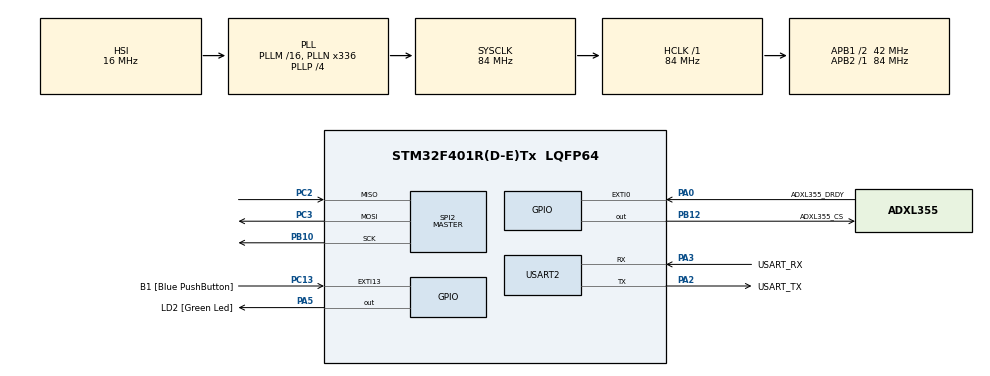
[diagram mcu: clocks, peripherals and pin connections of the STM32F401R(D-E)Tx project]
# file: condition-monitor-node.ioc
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Dma.Request0=SPI2_RX
Dma.Request1=SPI2_TX
Dma.SPI2_RX.0.Direction=DMA_PERIPH_TO_MEMORY
Dma.SPI2_RX.0.FIFOMode=DMA_FIFOMODE_DISABLE
Dma.SPI2_RX.0.Instance=DMA1_Stream3
Dma.SPI2_RX.0.MemDataAlignment=DMA_MDATAALIGN_BYTE
Dma.SPI2_RX.0.MemInc=DMA_MINC_ENABLE
Dma.SPI2_RX.0.Mode=DMA_NORMAL
Dma.SPI2_RX.0.PeriphDataAlignment=DMA_PDATAALIGN_BYTE
Dma.SPI2_RX.0.PeriphInc=DMA_PINC_DISABLE
Dma.SPI2_RX.0.Priority=DMA_PRIORITY_LOW
Dma.SPI2_TX.1.Direction=DMA_MEMORY_TO_PERIPH
Dma.SPI2_TX.1.FIFOMode=DMA_FIFOMODE_DISABLE
Dma.SPI2_TX.1.Instance=DMA1_Stream4
Dma.SPI2_TX.1.MemDataAlignment=DMA_MDATAALIGN_BYTE
Dma.SPI2_TX.1.MemInc=DMA_MINC_ENABLE
Dma.SPI2_TX.1.Mode=DMA_NORMAL
Dma.SPI2_TX.1.PeriphDataAlignment=DMA_PDATAALIGN_BYTE
Dma.SPI2_TX.1.PeriphInc=DMA_PINC_DISABLE
Dma.SPI2_TX.1.Priority=DMA_PRIORITY_LOW
Mcu.Family=STM32F4
Mcu.Name=STM32F401R(D-E)Tx
Mcu.Package=LQFP64
NVIC.DMA1_Stream3_IRQn=true\:0\:0\:false\:false\:true\:false\:true\:true
NVIC.DMA1_Stream4_IRQn=true\:0\:0\:false\:false\:true\:false\:true\:true
NVIC.EXTI0_IRQn=true\:0\:0\:false\:false\:true\:true\:true\:true
NVIC.PriorityGroup=NVIC_PRIORITYGROUP_4
NVIC.TIM2_IRQn=true\:0\:0\:false\:false\:true\:true\:true\:true
PA0-WKUP.GPIO_Label=ADXL355_DRDY
PA0-WKUP.Signal=GPXTI0
PA13.GPIO_Label=TMS
PA13.Mode=Trace_Asynchronous_SW
PA13.Signal=SYS_JTMS-SWDIO
PA14.GPIO_Label=TCK
PA14.Mode=Trace_Asynchronous_SW
PA14.Signal=SYS_JTCK-SWCLK
PA2.GPIO_Label=USART_TX
PA2.GPIO_Mode=GPIO_MODE_AF_PP
PA2.GPIO_PuPd=GPIO_NOPULL
PA2.GPIO_Speed=GPIO_SPEED_FREQ_LOW
PA2.Mode=Asynchronous
PA2.Signal=USART2_TX
PA3.GPIO_Label=USART_RX
PA3.GPIO_Mode=GPIO_MODE_AF_PP
PA3.GPIO_PuPd=GPIO_NOPULL
PA3.GPIO_Speed=GPIO_SPEED_FREQ_LOW
PA3.Mode=Asynchronous
PA3.Signal=USART2_RX
PA5.GPIO_Label=LD2 [Green Led]
PA5.GPIO_Mode=GPIO_MODE_OUTPUT_PP
PA5.GPIO_PuPd=GPIO_NOPULL
PA5.GPIO_Speed=GPIO_SPEED_FREQ_LOW
PA5.Signal=GPIO_Output
PB10.Mode=Full_Duplex_Master
PB10.Signal=SPI2_SCK
PB12.GPIO_Label=ADXL355_CS
PB12.PinState=GPIO_PIN_SET
PB12.Signal=GPIO_Output
PB3.GPIO_Label=SWO
PB3.Mode=Trace_Asynchronous_SW
PB3.Signal=SYS_JTDO-SWO
PC13-ANTI_TAMP.GPIO_Label=B1 [Blue PushButton]
PC13-ANTI_TAMP.GPIO_ModeDefaultEXTI=GPIO_MODE_IT_FALLING
PC13-ANTI_TAMP.GPIO_PuPd=GPIO_NOPULL
PC13-ANTI_TAMP.Signal=GPXTI13
PC14-OSC32_IN.Mode=LSE-External-Oscillator
PC14-OSC32_IN.Signal=RCC_OSC32_IN
PC15-OSC32_OUT.Mode=LSE-External-Oscillator
PC15-OSC32_OUT.Signal=RCC_OSC32_OUT
PC2.Mode=Full_Duplex_Master
PC2.Signal=SPI2_MISO
PC3.Mode=Full_Duplex_Master
PC3.Signal=SPI2_MOSI
PH0\ -\ OSC_IN.Mode=HSE-External-Clock-Source
PH0\ -\ OSC_IN.Signal=RCC_OSC_IN
PH1\ -\ OSC_OUT.Mode=HSE-External-Clock-Source
PH1\ -\ OSC_OUT.Signal=RCC_OSC_OUT
ProjectManager.HeapSize=0x200
ProjectManager.StackSize=0x400
ProjectManager.TargetToolchain=STM32CubeIDE
RCC.48MHZClocksFreq_Value=48000000
RCC.AHBFreq_Value=84000000
RCC.APB1CLKDivider=RCC_HCLK_DIV2
RCC.APB1Freq_Value=42000000
RCC.APB1TimFreq_Value=84000000
RCC.APB2Freq_Value=84000000
RCC.APB2TimFreq_Value=84000000
RCC.CortexFreq_Value=84000000
RCC.HCLKFreq_Value=84000000
RCC.HSE_VALUE=8000000
RCC.HSI_VALUE=16000000
RCC.PLLN=336
RCC.PLLP=RCC_PLLP_DIV4
RCC.PLLQ=7
RCC.SYSCLKFreq_VALUE=84000000
RCC.SYSCLKSource=RCC_SYSCLKSOURCE_PLLCLK
RCC.VCOOutputFreq_Value=336000000
SPI2.BaudRatePrescaler=SPI_BAUDRATEPRESCALER_8
SPI2.Direction=SPI_DIRECTION_2LINES
SPI2.Mode=SPI_MODE_MASTER
SPI2.VirtualType=VM_MASTER
TIM2.Period=4999
TIM2.Prescaler=8399
USART2.VirtualMode=VM_ASYNC
VP_TIM2_VS_ClockSourceINT.Mode=Internal
board=NUCLEO-F401RE

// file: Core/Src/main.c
/* USER CODE BEGIN Header */
/**
  ******************************************************************************
  * @file           : main.c
  * @brief          : Main program body
  ******************************************************************************
  * @attention
  *
  * Copyright (c) 2026 STMicroelectronics.
  * All rights reserved.
  *
  * This software is licensed under terms that can be found in the LICENSE file
  * in the root directory of this software component.
  * If no LICENSE file comes with this software, it is provided AS-IS.
  *
  ******************************************************************************
  */
/* USER CODE END Header */
#include "main.h"

/* USER CODE BEGIN Includes */

#include <stdio.h>
#include <math.h>

#include "arm_math.h"

#include "adxl355.h"

/* USER CODE END Includes */

/* USER CODE BEGIN PTD */

#define ADXL355_BUFFER_SIZE 512

typedef struct
{
    int32_t x[ADXL355_BUFFER_SIZE];
    int32_t y[ADXL355_BUFFER_SIZE];
    int32_t z[ADXL355_BUFFER_SIZE];
    uint16_t index;
} ADXL355_Buffer;

typedef struct
{
    float mean_x_g;
    float mean_y_g;
    float mean_z_g;

    float std_x_g;
    float std_y_g;
    float std_z_g;

    float p2p_x_g;
    float p2p_y_g;
    float p2p_z_g;
} ADXL355_Features;

/* USER CODE END PTD */

/* USER CODE BEGIN PD */

#define PI_F 3.14159265358979323846f

#define ADXL355_SAMPLE_RATE_HZ 2000.0f
#define ADXL355_SENSITIVITY_LSB_PER_G 256000.0f

/* USER CODE END PD */

SPI_HandleTypeDef hspi2;
DMA_HandleTypeDef hdma_spi2_rx;
DMA_HandleTypeDef hdma_spi2_tx;

TIM_HandleTypeDef htim2;

UART_HandleTypeDef huart2;

/* USER CODE BEGIN PV */

static ADXL355_Buffer buffer_a;
static ADXL355_Buffer buffer_b;

static ADXL355_Buffer *active_buffer = &buffer_a;
static ADXL355_Buffer * volatile ready_buffer = NULL;

static volatile uint32_t dropped_buffer_count = 0;

static volatile uint32_t drdy_events = 0;
static volatile uint32_t dma_start_fail_count = 0;
static volatile uint32_t spi_error_count = 0;

static float hann_window[ADXL355_BUFFER_SIZE];

static arm_rfft_fast_instance_f32 fft_instance;

static float fft_output[ADXL355_BUFFER_SIZE];
static float fft_input[ADXL355_BUFFER_SIZE];
static float fft_magnitude[ADXL355_BUFFER_SIZE / 2 + 1];

/* USER CODE END PV */

void SystemClock_Config(void);
static void MX_GPIO_Init(void);
static void MX_DMA_Init(void);
static void MX_USART2_UART_Init(void);
static void MX_TIM2_Init(void);
static void MX_SPI2_Init(void);

/* USER CODE BEGIN 0 */

static void InitHannWindow(void)
{
	for (int i = 0; i < ADXL355_BUFFER_SIZE; i++)
	{
		hann_window[i] = 0.5f * (1.0f - cos(2 * PI_F * i / (ADXL355_BUFFER_SIZE - 1)));
	}
}

static void PrepareFFTInput(const ADXL355_Buffer *buffer, const ADXL355_Features *features)
{
	for (int i = 0; i < ADXL355_BUFFER_SIZE; i++)
	{
		fft_input[i] = (buffer->x[i] / ADXL355_SENSITIVITY_LSB_PER_G - features->mean_x_g) * hann_window[i];
	}
}

static void ComputeMagnitudeSpectrum(void)
{
	fft_magnitude[0] = fabsf(fft_output[0]);

	for (int k = 1; k < ADXL355_BUFFER_SIZE / 2; k++)
	{
		float re = fft_output[2 * k];
		float im = fft_output[2 * k + 1];

		fft_magnitude[k] = sqrtf(re * re + im * im);
	}

	fft_magnitude[ADXL355_BUFFER_SIZE / 2] = fabsf(fft_output[1]);
}

static uint16_t FindDominantBin(void)
{
    uint16_t dominant_bin = 1;

    for (uint16_t i = 2; i < ADXL355_BUFFER_SIZE / 2; i++)
    {
    	if (fft_magnitude[i] > fft_magnitude[dominant_bin])
    	{
    		dominant_bin = i;
    	}
    }

    return dominant_bin;
}

static void ProcessBuffer(const ADXL355_Buffer *buffer, ADXL355_Features *features)
{
	int32_t min_x = buffer->x[0];
	int32_t max_x = buffer->x[0];
    int64_t sum_x = buffer->x[0];

	int32_t min_y = buffer->y[0];
	int32_t max_y = buffer->y[0];
    int64_t sum_y = buffer->y[0];

	int32_t min_z = buffer->z[0];
	int32_t max_z = buffer->z[0];
    int64_t sum_z = buffer->z[0];

    for (int i = 1; i < ADXL355_BUFFER_SIZE; i++)
    {
    	if (buffer->x[i] < min_x)
    	    min_x = buffer->x[i];
    	if (buffer->x[i] > max_x)
    	    max_x = buffer->x[i];
        sum_x += buffer->x[i];

    	if (buffer->y[i] < min_y)
			min_y = buffer->y[i];
		if (buffer->y[i] > max_y)
			max_y = buffer->y[i];
        sum_y += buffer->y[i];

		if (buffer->z[i] < min_z)
			min_z = buffer->z[i];
		if (buffer->z[i] > max_z)
			max_z = buffer->z[i];
        sum_z += buffer->z[i];
    }

    float mean_x_raw = (float)sum_x / ADXL355_BUFFER_SIZE;
    float mean_y_raw = (float)sum_y / ADXL355_BUFFER_SIZE;
    float mean_z_raw = (float)sum_z / ADXL355_BUFFER_SIZE;

    float squared_diff_sum_x = 0.0f;
    float squared_diff_sum_y = 0.0f;
    float squared_diff_sum_z = 0.0f;

    for (int i = 0; i < ADXL355_BUFFER_SIZE; i++)
    {
    	float diff_x = buffer->x[i] - mean_x_raw;
    	float diff_y = buffer->y[i] - mean_y_raw;
    	float diff_z = buffer->z[i] - mean_z_raw;
    	squared_diff_sum_x += diff_x * diff_x;
    	squared_diff_sum_y += diff_y * diff_y;
    	squared_diff_sum_z += diff_z * diff_z;
    }

    float std_x_raw = sqrtf(squared_diff_sum_x / ADXL355_BUFFER_SIZE);
    float std_y_raw = sqrtf(squared_diff_sum_y / ADXL355_BUFFER_SIZE);
    float std_z_raw = sqrtf(squared_diff_sum_z / ADXL355_BUFFER_SIZE);

    features->mean_x_g = mean_x_raw / ADXL355_SENSITIVITY_LSB_PER_G;
    features->mean_y_g = mean_y_raw / ADXL355_SENSITIVITY_LSB_PER_G;
    features->mean_z_g = mean_z_raw / ADXL355_SENSITIVITY_LSB_PER_G;

    features->std_x_g = std_x_raw / ADXL355_SENSITIVITY_LSB_PER_G;
    features->std_y_g = std_y_raw / ADXL355_SENSITIVITY_LSB_PER_G;
    features->std_z_g = std_z_raw / ADXL355_SENSITIVITY_LSB_PER_G;

    features->p2p_x_g = (max_x - min_x) / ADXL355_SENSITIVITY_LSB_PER_G;
    features->p2p_y_g = (max_y - min_y) / ADXL355_SENSITIVITY_LSB_PER_G;
    features->p2p_z_g = (max_z - min_z) / ADXL355_SENSITIVITY_LSB_PER_G;
}

/* USER CODE END 0 */

int main(void)
{

  /* MCU Configuration--------------------------------------------------------*/

  /* Reset of all peripherals, Initializes the Flash interface and the Systick. */
  HAL_Init();

  /* Configure the system clock */
  SystemClock_Config();

  /* Initialize all configured peripherals */
  MX_GPIO_Init();
  MX_DMA_Init();
  MX_USART2_UART_Init();
  MX_TIM2_Init();
  MX_SPI2_Init();
  /* USER CODE BEGIN 2 */

  HAL_TIM_Base_Start_IT(&htim2);

  InitHannWindow();

  arm_status fft_status =
      arm_rfft_fast_init_f32(&fft_instance, ADXL355_BUFFER_SIZE);

  if (fft_status != ARM_MATH_SUCCESS)
  {
      Error_Handler();
  }

  char message[] = "Hello from STM32!\r\n";

  HAL_UART_Transmit(&huart2, (uint8_t *)message, sizeof(message) - 1, HAL_MAX_DELAY);

  HAL_StatusTypeDef status;

  status = ADXL355_Init(&hspi2);
  if (status == HAL_OK) {
      char msg[] = "ADXL355 initialized.\r\n";
      HAL_UART_Transmit(&huart2, (uint8_t *)msg, sizeof(msg) - 1, HAL_MAX_DELAY);
  } else {
	  char msg[] = "ADXL355 initialization failed.\r\n";
	  HAL_UART_Transmit(&huart2, (uint8_t *)msg, sizeof(msg) - 1, HAL_MAX_DELAY);
  }

  CoreDebug->DEMCR |= CoreDebug_DEMCR_TRCENA_Msk;
  DWT->CYCCNT = 0;
  DWT->CTRL |= DWT_CTRL_CYCCNTENA_Msk;

  uint32_t processed_buffer_count = 0;

  /* USER CODE END 2 */

  /* Infinite loop */
  while (1)
  {

    /* USER CODE BEGIN 3 */

	  ADXL355_Buffer *buffer_to_process = ready_buffer;
	  if (buffer_to_process != NULL) {

		  char msg[128];
		  int len = snprintf(msg, sizeof(msg), "New buffer at %p being processed...\r\n", (void *)buffer_to_process);
		  HAL_UART_Transmit(&huart2, (uint8_t *)msg, len, HAL_MAX_DELAY);

		  ADXL355_Features features;
		  uint32_t start = HAL_GetTick();
		  uint32_t start_cycles = DWT->CYCCNT;

		  ProcessBuffer(buffer_to_process, &features);
		  PrepareFFTInput(buffer_to_process, &features);
		  arm_rfft_fast_f32(&fft_instance, fft_input, fft_output, 0);
		  ComputeMagnitudeSpectrum();
		  uint16_t dominant_bin = FindDominantBin();
		  float dominant_frequency_hz = dominant_bin * ADXL355_SAMPLE_RATE_HZ / ADXL355_BUFFER_SIZE;
		  float dominant_magnitude = fft_magnitude[dominant_bin];

		  uint32_t processing_cycles = DWT->CYCCNT - start_cycles;
		  uint32_t processing_time_ms = HAL_GetTick() - start;
		  float processing_time_us = (float)processing_cycles / (SystemCoreClock / 1000000.0f);
		  processed_buffer_count++;

		  len = snprintf(msg, sizeof(msg), "X: mean=%fg, std=%fg, p2p=%fg, f=%fHz, magnitude=%f\r\n", features.mean_x_g, features.std_x_g, features.p2p_x_g, dominant_frequency_hz, dominant_magnitude);
		  HAL_UART_Transmit(&huart2, (uint8_t *)msg, len, HAL_MAX_DELAY);
		  len = snprintf(msg, sizeof(msg), "Y: mean=%fg, std=%fg, p2p=%fg\r\n", features.mean_y_g, features.std_y_g, features.p2p_y_g);
		  HAL_UART_Transmit(&huart2, (uint8_t *)msg, len, HAL_MAX_DELAY);
		  len = snprintf(msg, sizeof(msg), "Z: mean=%fg, std=%fg, p2p=%fg\r\n", features.mean_z_g, features.std_z_g, features.p2p_z_g);
		  HAL_UART_Transmit(&huart2, (uint8_t *)msg, len, HAL_MAX_DELAY);
		  len = snprintf(msg, sizeof(msg), "Buffer at %p done being processed.\r\n", (void *)buffer_to_process);
		  HAL_UART_Transmit(&huart2, (uint8_t *)msg, len, HAL_MAX_DELAY);

		  len = snprintf(msg, sizeof(msg), "Processed buffers count: %lu.\r\n", processed_buffer_count);
		  HAL_UART_Transmit(&huart2, (uint8_t *)msg, len, HAL_MAX_DELAY);
		  len = snprintf(msg, sizeof(msg), "Dropped buffers count: %lu.\r\n", dropped_buffer_count);
		  HAL_UART_Transmit(&huart2, (uint8_t *)msg, len, HAL_MAX_DELAY);
		  len = snprintf(msg, sizeof(msg), "DMA start fail count: %lu.\r\n", dma_start_fail_count);
		  HAL_UART_Transmit(&huart2, (uint8_t *)msg, len, HAL_MAX_DELAY);
		  len = snprintf(msg, sizeof(msg), "SPI errors count: %lu.\r\n", spi_error_count);
		  HAL_UART_Transmit(&huart2, (uint8_t *)msg, len, HAL_MAX_DELAY);

		  ready_buffer = NULL;

		  len = snprintf(msg, sizeof(msg), "Processing time ms: %lu.\r\n", processing_time_ms);
		  HAL_UART_Transmit(&huart2, (uint8_t *)msg, len, HAL_MAX_DELAY);
		  len = snprintf(msg, sizeof(msg), "Processing: %lu cycles, %.2f us\r\n\n", (unsigned long)processing_cycles, processing_time_us);
		  HAL_UART_Transmit(&huart2, (uint8_t *)msg, len, HAL_MAX_DELAY);
	  }

  }
  /* USER CODE END 3 */
}

void SystemClock_Config(void)
{
  RCC_OscInitTypeDef RCC_OscInitStruct = {0};
  RCC_ClkInitTypeDef RCC_ClkInitStruct = {0};

  /** Configure the main internal regulator output voltage
  */
  __HAL_RCC_PWR_CLK_ENABLE();
  __HAL_PWR_VOLTAGESCALING_CONFIG(PWR_REGULATOR_VOLTAGE_SCALE2);

  /** Initializes the RCC Oscillators according to the specified parameters
  * in the RCC_OscInitTypeDef structure.
  */
  RCC_OscInitStruct.OscillatorType = RCC_OSCILLATORTYPE_HSI;
  RCC_OscInitStruct.HSIState = RCC_HSI_ON;
  RCC_OscInitStruct.HSICalibrationValue = RCC_HSICALIBRATION_DEFAULT;
  RCC_OscInitStruct.PLL.PLLState = RCC_PLL_ON;
  RCC_OscInitStruct.PLL.PLLSource = RCC_PLLSOURCE_HSI;
  RCC_OscInitStruct.PLL.PLLM = 16;
  RCC_OscInitStruct.PLL.PLLN = 336;
  RCC_OscInitStruct.PLL.PLLP = RCC_PLLP_DIV4;
  RCC_OscInitStruct.PLL.PLLQ = 7;
  if (HAL_RCC_OscConfig(&RCC_OscInitStruct) != HAL_OK)
  {
    Error_Handler();
  }

  /** Initializes the CPU, AHB and APB buses clocks
  */
  RCC_ClkInitStruct.ClockType = RCC_CLOCKTYPE_HCLK|RCC_CLOCKTYPE_SYSCLK
                              |RCC_CLOCKTYPE_PCLK1|RCC_CLOCKTYPE_PCLK2;
  RCC_ClkInitStruct.SYSCLKSource = RCC_SYSCLKSOURCE_PLLCLK;
  RCC_ClkInitStruct.AHBCLKDivider = RCC_SYSCLK_DIV1;
  RCC_ClkInitStruct.APB1CLKDivider = RCC_HCLK_DIV2;
  RCC_ClkInitStruct.APB2CLKDivider = RCC_HCLK_DIV1;

  if (HAL_RCC_ClockConfig(&RCC_ClkInitStruct, FLASH_LATENCY_2) != HAL_OK)
  {
    Error_Handler();
  }
}

static void MX_SPI2_Init(void)
{

  /* SPI2 parameter configuration*/
  hspi2.Instance = SPI2;
  hspi2.Init.Mode = SPI_MODE_MASTER;
  hspi2.Init.Direction = SPI_DIRECTION_2LINES;
  hspi2.Init.DataSize = SPI_DATASIZE_8BIT;
  hspi2.Init.CLKPolarity = SPI_POLARITY_LOW;
  hspi2.Init.CLKPhase = SPI_PHASE_1EDGE;
  hspi2.Init.NSS = SPI_NSS_SOFT;
  hspi2.Init.BaudRatePrescaler = SPI_BAUDRATEPRESCALER_8;
  hspi2.Init.FirstBit = SPI_FIRSTBIT_MSB;
  hspi2.Init.TIMode = SPI_TIMODE_DISABLE;
  hspi2.Init.CRCCalculation = SPI_CRCCALCULATION_DISABLE;
  hspi2.Init.CRCPolynomial = 10;
  if (HAL_SPI_Init(&hspi2) != HAL_OK)
  {
    Error_Handler();
  }

}

static void MX_TIM2_Init(void)
{

  TIM_ClockConfigTypeDef sClockSourceConfig = {0};
  TIM_MasterConfigTypeDef sMasterConfig = {0};

  htim2.Instance = TIM2;
  htim2.Init.Prescaler = 8399;
  htim2.Init.CounterMode = TIM_COUNTERMODE_UP;
  htim2.Init.Period = 4999;
  htim2.Init.ClockDivision = TIM_CLOCKDIVISION_DIV1;
  htim2.Init.AutoReloadPreload = TIM_AUTORELOAD_PRELOAD_DISABLE;
  if (HAL_TIM_Base_Init(&htim2) != HAL_OK)
  {
    Error_Handler();
  }
  sClockSourceConfig.ClockSource = TIM_CLOCKSOURCE_INTERNAL;
  if (HAL_TIM_ConfigClockSource(&htim2, &sClockSourceConfig) != HAL_OK)
  {
    Error_Handler();
  }
  sMasterConfig.MasterOutputTrigger = TIM_TRGO_RESET;
  sMasterConfig.MasterSlaveMode = TIM_MASTERSLAVEMODE_DISABLE;
  if (HAL_TIMEx_MasterConfigSynchronization(&htim2, &sMasterConfig) != HAL_OK)
  {
    Error_Handler();
  }

}

static void MX_USART2_UART_Init(void)
{

  huart2.Instance = USART2;
  huart2.Init.BaudRate = 115200;
  huart2.Init.WordLength = UART_WORDLENGTH_8B;
  huart2.Init.StopBits = UART_STOPBITS_1;
  huart2.Init.Parity = UART_PARITY_NONE;
  huart2.Init.Mode = UART_MODE_TX_RX;
  huart2.Init.HwFlowCtl = UART_HWCONTROL_NONE;
  huart2.Init.OverSampling = UART_OVERSAMPLING_16;
  if (HAL_UART_Init(&huart2) != HAL_OK)
  {
    Error_Handler();
  }

}

static void MX_DMA_Init(void)
{

  /* DMA controller clock enable */
  __HAL_RCC_DMA1_CLK_ENABLE();

  /* DMA interrupt init */
  /* DMA1_Stream3_IRQn interrupt configuration */
  HAL_NVIC_SetPriority(DMA1_Stream3_IRQn, 0, 0);
  HAL_NVIC_EnableIRQ(DMA1_Stream3_IRQn);
  /* DMA1_Stream4_IRQn interrupt configuration */
  HAL_NVIC_SetPriority(DMA1_Stream4_IRQn, 0, 0);
  HAL_NVIC_EnableIRQ(DMA1_Stream4_IRQn);

}

static void MX_GPIO_Init(void)
{
  GPIO_InitTypeDef GPIO_InitStruct = {0};

  /* GPIO Ports Clock Enable */
  __HAL_RCC_GPIOC_CLK_ENABLE();
  __HAL_RCC_GPIOH_CLK_ENABLE();
  __HAL_RCC_GPIOA_CLK_ENABLE();
  __HAL_RCC_GPIOB_CLK_ENABLE();

  /*Configure GPIO pin Output Level */
  HAL_GPIO_WritePin(LD2_GPIO_Port, LD2_Pin, GPIO_PIN_RESET);

  /*Configure GPIO pin Output Level */
  HAL_GPIO_WritePin(ADXL355_CS_GPIO_Port, ADXL355_CS_Pin, GPIO_PIN_SET);

  /*Configure GPIO pin : B1_Pin */
  GPIO_InitStruct.Pin = B1_Pin;
  GPIO_InitStruct.Mode = GPIO_MODE_IT_FALLING;
  GPIO_InitStruct.Pull = GPIO_NOPULL;
  HAL_GPIO_Init(B1_GPIO_Port, &GPIO_InitStruct);

  /*Configure GPIO pin : ADXL355_DRDY_Pin */
  GPIO_InitStruct.Pin = ADXL355_DRDY_Pin;
  GPIO_InitStruct.Mode = GPIO_MODE_IT_RISING;
  GPIO_InitStruct.Pull = GPIO_NOPULL;
  HAL_GPIO_Init(ADXL355_DRDY_GPIO_Port, &GPIO_InitStruct);

  /*Configure GPIO pin : LD2_Pin */
  GPIO_InitStruct.Pin = LD2_Pin;
  GPIO_InitStruct.Mode = GPIO_MODE_OUTPUT_PP;
  GPIO_InitStruct.Pull = GPIO_NOPULL;
  GPIO_InitStruct.Speed = GPIO_SPEED_FREQ_LOW;
  HAL_GPIO_Init(LD2_GPIO_Port, &GPIO_InitStruct);

  /*Configure GPIO pin : ADXL355_CS_Pin */
  GPIO_InitStruct.Pin = ADXL355_CS_Pin;
  GPIO_InitStruct.Mode = GPIO_MODE_OUTPUT_PP;
  GPIO_InitStruct.Pull = GPIO_NOPULL;
  GPIO_InitStruct.Speed = GPIO_SPEED_FREQ_LOW;
  HAL_GPIO_Init(ADXL355_CS_GPIO_Port, &GPIO_InitStruct);

  /* EXTI interrupt init*/
  HAL_NVIC_SetPriority(EXTI0_IRQn, 0, 0);
  HAL_NVIC_EnableIRQ(EXTI0_IRQn);

}

/* USER CODE BEGIN 4 */

void HAL_TIM_PeriodElapsedCallback(TIM_HandleTypeDef *htim)
{
    if (htim->Instance == TIM2)
    {
        HAL_GPIO_TogglePin(LD2_GPIO_Port, LD2_Pin);
    }
}

void HAL_GPIO_EXTI_Callback(uint16_t GPIO_Pin)
{
	if (GPIO_Pin == ADXL355_DRDY_Pin) {
		drdy_events++;
		if (ADXL355_StartReadDMA(&hspi2) != HAL_OK) {
			dma_start_fail_count++;
		}
	}
}

void HAL_SPI_TxRxCpltCallback(SPI_HandleTypeDef *hspi)
{
    if (hspi->Instance == SPI2)
    {
        int32_t x_raw, y_raw, z_raw;
        ADXL355_CompleteReadDMA(&x_raw, &y_raw, &z_raw);

        active_buffer->x[active_buffer->index] = x_raw;
        active_buffer->y[active_buffer->index] = y_raw;
        active_buffer->z[active_buffer->index] = z_raw;
        active_buffer->index++;

        if (active_buffer->index == ADXL355_BUFFER_SIZE) {
        	if (ready_buffer == NULL) {
        		ready_buffer = active_buffer;
				if (active_buffer == &buffer_a) {
					active_buffer = &buffer_b;
				} else {
					active_buffer = &buffer_a;
				}
        	} else {
        		dropped_buffer_count++;
        	}
			active_buffer->index = 0;
        }
    }
}

void HAL_SPI_ErrorCallback(SPI_HandleTypeDef *hspi)
{
    if (hspi->Instance == SPI2) {
        spi_error_count++;
    }
}

/* USER CODE END 4 */

void Error_Handler(void)
{
  __disable_irq();
  while (1)
  {
  }
}
